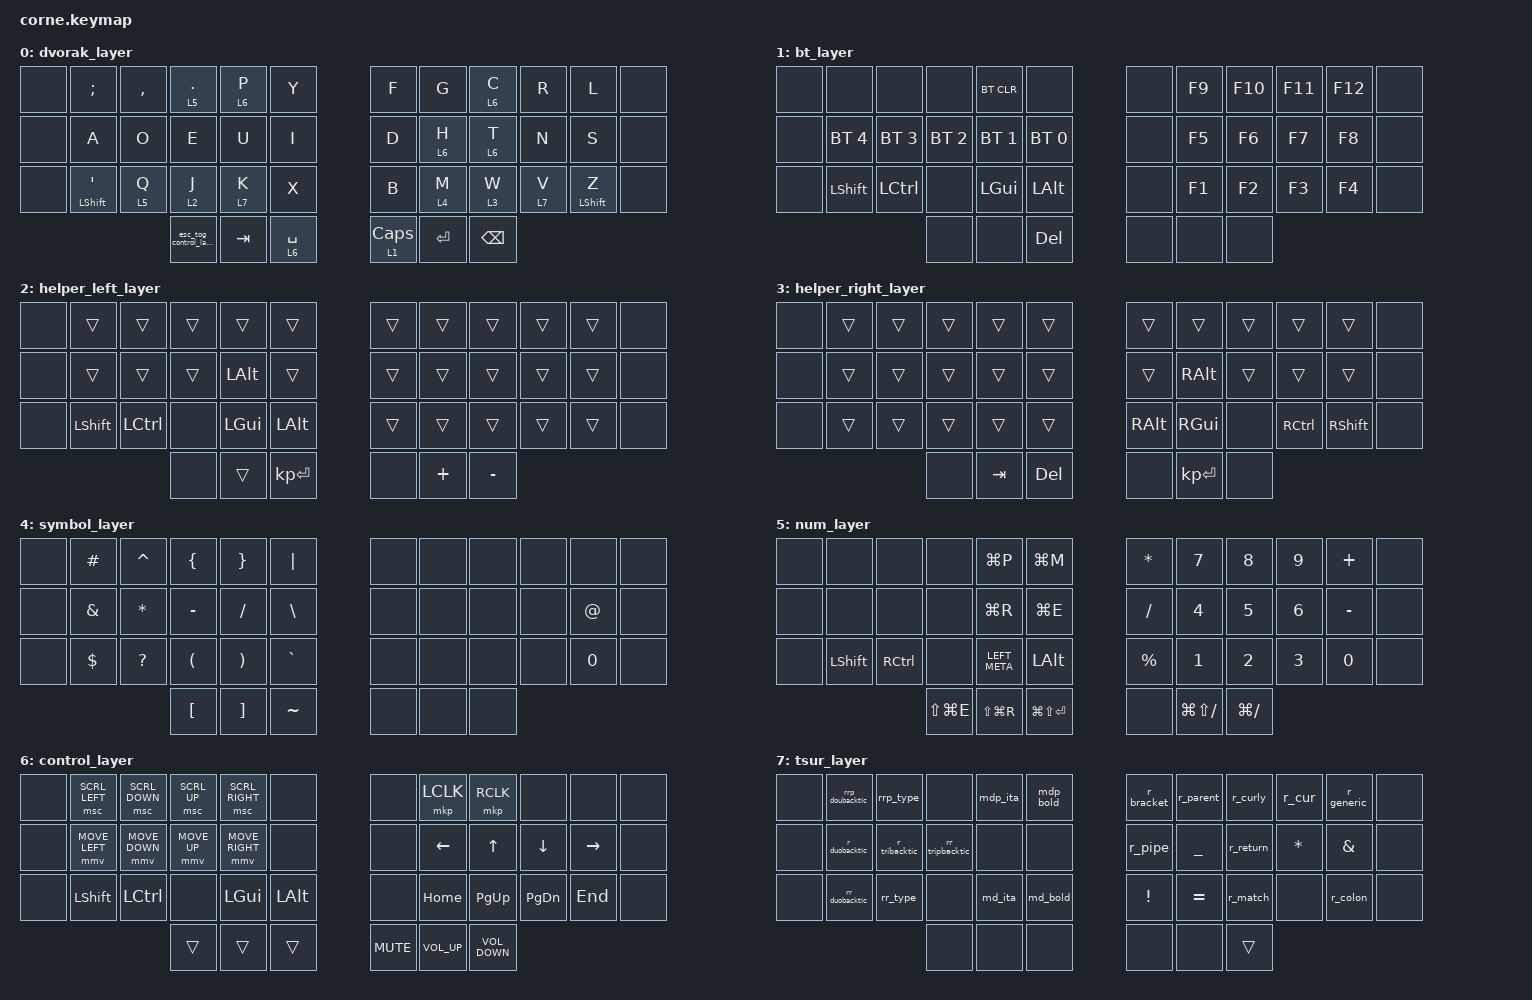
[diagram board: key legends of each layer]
/*
 * Copyright (c) 2020 The ZMK Contributors
 *
 * SPDX-License-Identifier: MIT
 */
/*              KEY POSITIONS 3 x 5

  ╭─────────────────────╮ ╭─────────────────────╮
  │  ;   ,   .   P   Y  │ │  P   G   C   R   L  │
  │  A   O   E   U   I  │ │  D   H   T   N   S  │
  │  '   Q   J   K   X  │ │  B   M   W   V   Z  │
  ╰───────╮ Esc Tab Spc │ │ Cps Ent Bsp ╭───────╯
          ╰─────────────╯ ╰─────────────╯ 

#define ZMK_POINTING_DEFAULT_MOVE_VAL 2500  // 600
#define ZMK_POINTING_DEFAULT_SCRL_VAL 20    // 10

#include <dt-bindings/zmk/pointing.h>
*/

#include <dt-bindings/zmk/mouse.h>
#include <behaviors.dtsi>
#include <dt-bindings/zmk/bt.h>
#include <dt-bindings/zmk/keys.h>
#include <dt-bindings/zmk/pointing.h>

#define ZMK_POINTING_DEFAULT_MOVE_VAL 2800
#define ZMK_POINTING_DEFAULT_SCRL_VAL 30

/ {
    macros {
        r_colon: r_colon {
            compatible = "zmk,behavior-macro";
            #binding-cells = <0>;
            bindings = <&kp COLON &kp COLON>;
            label = "R_COLON";
        };

        r_parent: r_parent {
            compatible = "zmk,behavior-macro";
            #binding-cells = <0>;
            bindings = <&kp LPAR &kp RPAR>;
            label = "R_PARENT";
        };

        r_curly: r_curly {
            compatible = "zmk,behavior-macro";
            #binding-cells = <0>;
            bindings = <&kp LS(LBRC) &kp RBRC &kp LEFT &kp ENTER>;
            label = "R_CURLY";
        };

        r_bracket: r_bracket {
            compatible = "zmk,behavior-macro";
            #binding-cells = <0>;
            bindings = <&kp LBKT &kp RBKT>;
            label = "R_BRACKET";
        };

        r_generic: r_generic {
            compatible = "zmk,behavior-macro";
            #binding-cells = <0>;
            bindings = <&kp LT &kp GT &kp LEFT>;
            label = "R_GENERIC";
        };

        r_pipe: r_pipe {
            compatible = "zmk,behavior-macro";
            #binding-cells = <0>;
            bindings = <&kp PIPE &kp PIPE>;
            label = "R_PIPE";
        };

        r_return: r_return {
            compatible = "zmk,behavior-macro";
            #binding-cells = <0>;
            bindings = <&kp MINUS &kp GT>;
            label = "R_RETURN";
        };

        r_match: r_match {
            compatible = "zmk,behavior-macro";
            #binding-cells = <0>;
            bindings = <&kp EQUAL &kp GT>;
            label = "R_MATCH";
        };

        r_less: r_less {
            compatible = "zmk,behavior-macro";
            #binding-cells = <0>;
            bindings = <&kp LT &kp EQUAL>;
            label = "R_LESS";
        };

        r_great: r_great {
            compatible = "zmk,behavior-macro";
            #binding-cells = <0>;
            bindings = <&kp GT &kp EQUAL>;
            label = "R_GREAT";
        };

        r_duobacktic: r_duobacktic {
            compatible = "zmk,behavior-macro";
            #binding-cells = <0>;
            bindings = <&kp GRAVE &kp GRAVE>;
            label = "R_DUOBACKTIC";
        };

        r_tribacktic: r_tribacktic {
            compatible = "zmk,behavior-macro";
            #binding-cells = <0>;
            bindings = <&kp GRAVE &kp GRAVE &kp GRAVE>;
            label = "R_TRIBACKTIC";
        };

        r_str: r_str {
            compatible = "zmk,behavior-macro";
            #binding-cells = <0>;
            bindings = <&kp DQT &kp DQT>;
            label = "R_STR";
        };

        rr_type: rr_type {
            compatible = "zmk,behavior-macro";
            #binding-cells = <0>;
            bindings = <&kp UNDER &kp GRAVE &kp GRAVE &kp GRAVE &kp GRAVE &kp UNDER &kp LEFT &kp LEFT &kp LEFT>;
            label = "RR_TYPE";
        };

        rr_str: rr_str {
            compatible = "zmk,behavior-macro";
            #binding-cells = <0>;
            bindings = <&kp DQT &kp DQT &kp LEFT>;
            label = "RR_STR";
        };

        rr_duobacktic: rr_duobacktic {
            compatible = "zmk,behavior-macro";
            #binding-cells = <0>;
            bindings = <&kp GRAVE &kp GRAVE &kp GRAVE &kp GRAVE &kp LEFT &kp LEFT>;
            label = "RR_DUOBACKTIC";
        };

        md_bold: md_bold {
            compatible = "zmk,behavior-macro";
            #binding-cells = <0>;
            bindings = <&kp ASTRK &kp ASTRK &kp ASTRK &kp ASTRK &kp LEFT &kp LEFT>;
            label = "MD_BOLD";
        };

        md_ita: md_ita {
            compatible = "zmk,behavior-macro";
            #binding-cells = <0>;
            bindings = <&kp UNDER &kp UNDER &kp LEFT>;
            label = "MD_ITA";
        };

        rrp_doubacktic: rrp_doubacktic {
            compatible = "zmk,behavior-macro";
            #binding-cells = <0>;
            bindings = <&kp LEFT &kp X &kp I &kp GRAVE &kp GRAVE &kp GRAVE &kp GRAVE &kp LEFT &kp LEFT &kp LEFT &kp ESC &kp P>;
            label = "RRP_DOUBACKTIC";
        };

        rrp_type: rrp_type {
            compatible = "zmk,behavior-macro";
            #binding-cells = <0>;
            bindings = <&kp LEFT &kp X &kp I &kp UNDER &kp GRAVE &kp GRAVE &kp GRAVE &kp GRAVE &kp UNDER &kp LEFT &kp LEFT &kp LEFT &kp LEFT &kp ESC &kp P>;
            label = "RRP_TYPE";
        };

        rr_tripbacktic: rr_tripbacktic {
            compatible = "zmk,behavior-macro";
            #binding-cells = <0>;
            bindings = <&kp GRAVE &kp GRAVE &kp GRAVE &kp GRAVE &kp GRAVE &kp GRAVE &kp LEFT &kp LEFT &kp LEFT>;
            label = "RR_TRIPBACKTIC";
        };

        mdp_bold: mdp_bold {
            compatible = "zmk,behavior-macro";
            #binding-cells = <0>;
            bindings = <&kp LEFT &kp X &kp I &kp ASTRK &kp ASTRK &kp ASTRK &kp ASTRK &kp LEFT &kp LEFT &kp LEFT &kp ESC &kp P>;
            label = "MDP_BOLD";
        };

        mdp_ita: mdp_ita {
            compatible = "zmk,behavior-macro";
            #binding-cells = <0>;
            bindings = <&kp LEFT &kp X &kp I &kp UNDER &kp UNDER &kp LEFT &kp LEFT &kp ESC &kp P>;
            label = "MDP_ITA";
        };

        r_cur: r_cur {
            compatible = "zmk,behavior-macro";
            #binding-cells = <0>;
            bindings = <&kp LS(LBRC) &kp RBRC &kp LEFT>;
            label = "R_CUR";
        };
    };

    behaviors {
        esc_tog_control_layer: esc_tog_control_layer {
            compatible = "zmk,behavior-tap-dance";
            label = "ESC_TOG_CONTROL_LAYER";
            #binding-cells = <0>;
            bindings = <&kp ESC>, <&tog 6>;
        };
    };

    keymap {
        compatible = "zmk,keymap";

        dvorak_layer {
            bindings = <
&none  &kp SEMI            &kp COMMA  &lt 5 DOT               &lt 6 P  &kp Y          &kp F       &kp G      &lt 6 C        &kp R    &kp L             &none
&none  &kp A               &kp O      &kp E                   &kp U    &kp I          &kp D       &lt 6 H    &lt 6 T        &kp N    &kp S             &none
&none  &mt LEFT_SHIFT SQT  &lt 5 Q    &lt 2 J                 &lt 7 K  &kp X          &kp B       &lt 4 M    &lt 3 W        &lt 7 V  &mt LEFT_SHIFT Z  &none
                                      &esc_tog_control_layer  &kp TAB  &lt 6 SPACE    &lt 1 CAPS  &kp ENTER  &kp BACKSPACE
            >;
        };

        bt_layer {
            bindings = <
&none  &none           &none         &none         &bt BT_CLR    &none           &none  &kp F9  &kp F10  &kp F11  &kp F12  &none
&none  &bt BT_SEL 4    &bt BT_SEL 3  &bt BT_SEL 2  &bt BT_SEL 1  &bt BT_SEL 0    &none  &kp F5  &kp F6   &kp F7   &kp F8   &none
&none  &kp LEFT_SHIFT  &kp LCTRL     &none         &kp LGUI      &kp LALT        &none  &kp F1  &kp F2   &kp F3   &kp F4   &none
                                     &none         &none         &kp DELETE      &none  &none   &none
            >;
        };

        helper_left_layer {
            bindings = <
&none  &trans          &trans     &trans  &trans        &trans          &trans  &trans    &trans     &trans  &trans  &none
&none  &trans          &trans     &trans  &kp LEFT_ALT  &trans          &trans  &trans    &trans     &trans  &trans  &none
&none  &kp LEFT_SHIFT  &kp LCTRL  &none   &kp LGUI      &kp LEFT_ALT    &trans  &trans    &trans     &trans  &trans  &none
                                  &none   &trans        &kp KP_ENTER    &none   &kp PLUS  &kp MINUS
            >;
        };

        helper_right_layer {
            bindings = <
&none  &trans  &trans  &trans  &trans   &trans        &trans         &trans         &trans  &trans     &trans           &none
&none  &trans  &trans  &trans  &trans   &trans        &trans         &kp RIGHT_ALT  &trans  &trans     &trans           &none
&none  &trans  &trans  &trans  &trans   &trans        &kp RIGHT_ALT  &kp RIGHT_GUI  &none   &kp RCTRL  &kp RIGHT_SHIFT  &none
                       &none   &kp TAB  &kp DELETE    &none          &kp KP_ENTER   &none
            >;
        };

        symbol_layer {
            bindings = <
&none  &kp POUND      &kp CARET  &kp LBRC   &kp RBRC  &kp PIPE         &none  &none  &none  &none  &none   &none
&none  &kp AMPERSAND  &kp STAR   &kp MINUS  &kp FSLH  &kp BACKSLASH    &none  &none  &none  &none  &kp AT  &none
&none  &kp DLLR       &kp QMARK  &kp LPAR   &kp RPAR  &kp GRAVE        &none  &none  &none  &none  &kp N0  &none
                                 &kp LBKT   &kp RBKT  &kp TILDE        &none  &none  &none
            >;
        };

        num_layer {
            bindings = <
&none  &none           &none      &none          &kp LG(P)      &kp LG(M)            &kp STAR   &kp N7             &kp N8         &kp N9  &kp PLUS   &none
&none  &none           &none      &none          &kp LG(R)      &kp LG(E)            &kp FSLH   &kp N4             &kp N5         &kp N6  &kp MINUS  &none
&none  &kp LEFT_SHIFT  &kp RCTRL  &none          &kp LEFT_META  &kp LEFT_ALT         &kp PRCNT  &kp N1             &kp N2         &kp N3  &kp N0     &none
                                  &kp LS(LG(E))  &kp LS(LG(R))  &kp LG(LS(ENTER))    &none      &kp LG(LS(SLASH))  &kp LG(SLASH)
            >;
        };

        control_layer {
            bindings = <
&none  &msc SCRL_LEFT  &msc SCRL_DOWN  &msc SCRL_UP  &msc SCRL_RIGHT  &none           &none       &mkp LCLK     &mkp RCLK          &none      &none      &none
&none  &mmv MOVE_LEFT  &mmv MOVE_DOWN  &mmv MOVE_UP  &mmv MOVE_RIGHT  &none           &none       &kp LEFT      &kp UP             &kp DOWN   &kp RIGHT  &none
&none  &kp LSHIFT      &kp LCTRL       &none         &kp LGUI         &kp LEFT_ALT    &none       &kp HOME      &kp PG_UP          &kp PG_DN  &kp END    &none
                                       &trans        &trans           &trans          &kp K_MUTE  &kp C_VOL_UP  &kp C_VOLUME_DOWN
            >;
        };

        tsur_layer {
            bindings = <
&none  &rrp_doubacktic  &rrp_type      &none            &mdp_ita  &mdp_bold    &r_bracket  &r_parent  &r_curly   &r_cur     &r_generic  &none
&none  &r_duobacktic    &r_tribacktic  &rr_tripbacktic  &none     &none        &r_pipe     &kp UNDER  &r_return  &kp ASTRK  &kp AMPS    &none
&none  &rr_duobacktic   &rr_type       &none            &md_ita   &md_bold     &kp EXCL    &kp EQUAL  &r_match   &none      &r_colon    &none
                                       &none            &none     &none        &none       &none      &trans
            >;
        };
    };
};
